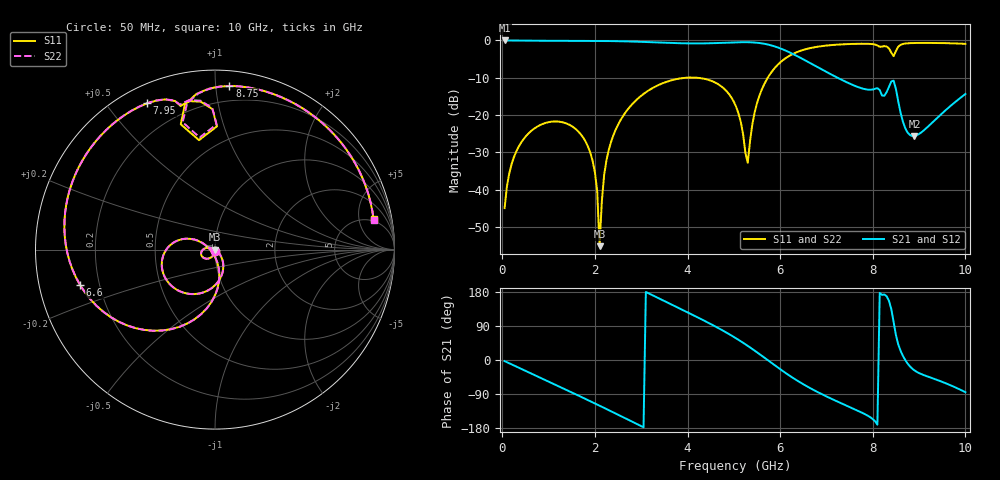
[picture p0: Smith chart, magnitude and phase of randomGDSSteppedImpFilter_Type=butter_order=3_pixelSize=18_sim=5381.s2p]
! freq	dB(S11)	phase(S11)	dB(S12)	phase(S12)
!  dB(S21)	phase(S21)	dB(S22)	phase(S22)
!S-par simulation data
#  GHz  S  DB  R 50
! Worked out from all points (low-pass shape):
!   200 points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, 50 MHz to 10 GHz, reference 50 ohm
!   highest |S21| = -0.01 dB at 50 MHz (marker M1); lowest = -25.6 dB at 8.9 GHz (marker M2)
!   |S21| within 3 dB of the highest: start of sweep to 6.171 GHz
!   lowest |S11| = -55.1 dB at 2.1 GHz (marker M3), VSWR 1.00, Z = 49.9 - j0.122 ohm
!   |S11| at or under -10 dB: start of sweep to 3.957 GHz; 4.216 GHz to 5.732 GHz (1.517 GHz wide, 30.5 % of centre)
!   |S22| runs from -55.7 to -0.7 dB; largest |S21 - S12| = 0
!   S11 on the Smith chart (normalised r, x): 50 MHz: 1.00, -0.01; 6.6 GHz: 0.13, -0.13; 7.95 GHz: 0.08, +0.64; 8.75 GHz: 0.10, +1.09; 10 GHz: 4.47, +7.98
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0.05  -44.91 -88.5  -0.01 -2.9  -0.01 -2.9  -44.84 -89.2
0.25  -31.29 -103.7  -0.03 -14.4  -0.03 -14.4  -31.29 -103.7
0.6  -24.50 -124.6  -0.06 -34.3  -0.06 -34.3  -24.49 -124.7
1.75  -26.07 169.5  -0.13 -100.0  -0.13 -100.0  -26.07 169.1
2  -35.29 155.8  -0.14 -114.6  -0.14 -114.6  -35.28 154.1
2.05  -40.46 153.9  -0.14 -117.6  -0.14 -117.6  -40.46 150.7
2.1  -55.09 -135.9  -0.15 -120.5  -0.15 -120.5  -55.74 58.9
2.2  -35.98 -38.7  -0.15 -126.4  -0.15 -126.4  -35.98 -36.7
2.4  -25.34 -49.6  -0.18 -138.4  -0.18 -138.4  -25.34 -49.0
3.4  -11.79 -108.9  -0.57 161.5  -0.57 161.5  -11.79 -108.8
4.3  -10.13 -161.7  -0.80 107.5  -0.80 107.5  -10.12 -161.7
5.05  -17.79 154.3  -0.50 57.1  -0.50 57.1  -17.79 154.0
5.3  -32.78 -125.1  -0.47 37.4  -0.47 37.4  -33.08 -124.6
5.45  -19.22 -78.9  -0.56 24.7  -0.56 24.7  -19.25 -78.5
5.7  -10.68 -93.9  -1.00 2.5  -1.00 2.5  -10.69 -93.7
6.6  -2.19 -165.3  -5.73 -71.0  -5.73 -71.0  -2.19 -165.3
6.7  -1.92 -172.1  -6.41 -77.7  -6.41 -77.7  -1.92 -172.0
7.95  -0.93 114.8  -13.20 -151.4  -13.20 -151.4  -0.92 115.0
8.35  -2.13 91.0  -12.44 156.2  -12.44 156.2  -2.06 91.1
8.75  -0.77 85.0  -24.63 -9.0  -24.63 -9.0  -0.76 84.4
8.9  -0.69 75.5  -25.59 -27.5  -25.59 -27.5  -0.69 75.0
10  -0.92 10.9  -14.34 -84.9  -14.34 -84.9  -0.92 10.5
